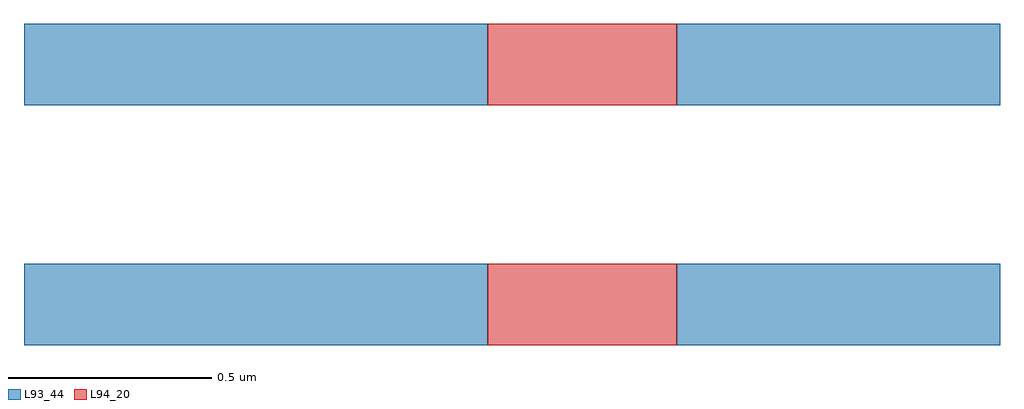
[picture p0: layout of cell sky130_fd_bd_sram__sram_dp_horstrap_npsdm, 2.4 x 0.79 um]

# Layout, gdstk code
import gdstk
lib = gdstk.Library(unit=1e-6, precision=1e-09)
def R(c, l, rs):  # rectangles x0, y0, x1, y1
    for r in rs: c.add(gdstk.rectangle(r[:2], r[2:], *l))
L93_44 = (93, 44)
L94_20 = (94, 20)

sky130_fd_bd_sram__sram_ = lib.new_cell('sky130_fd_bd_sram__sram_dp_horstrap_npsdm')
R(sky130_fd_bd_sram__sram_, L93_44, [(0,0,1.14,0.2), (1.605,0,2.4,0.2), (0,0.59,1.14,0.79), (1.605,0.59,2.4,0.79)])
R(sky130_fd_bd_sram__sram_, L94_20, [(1.14,0,1.605,0.2), (1.14,0.59,1.605,0.79)])

lib.write_gds('sky130_fd_bd_sram__sram_dp_horstrap_npsdm.gds')
